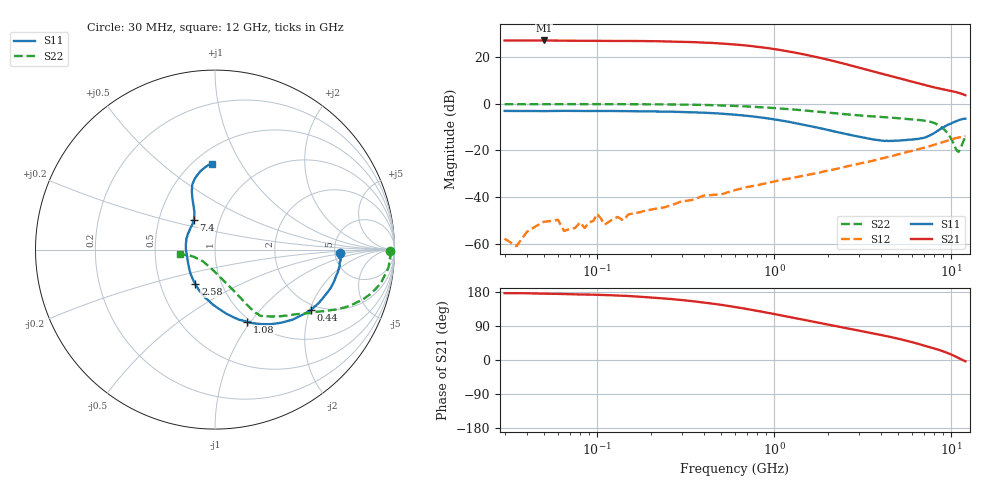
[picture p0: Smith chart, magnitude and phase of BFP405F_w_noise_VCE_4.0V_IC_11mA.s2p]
! Infineon Technologies  Discrete & RF Semiconductors
! BFP405F
! VCE =  4.0 V,  IC =  11 mA
! Common Emitter S-Parameters:  Nov 2015
# GHz  S  MA  R  50
!  f  S11  S21  S12  S22
! GHz  MAG  ANG  MAG  ANG  MAG  ANG  MAG  ANG
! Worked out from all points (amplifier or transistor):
!   239 points, 30 MHz to 12 GHz, reference 50 ohm
!   highest |S21| = 27.0 dB at 50 MHz (marker M1)
!   |S21| within 3 dB of that: start of sweep to 864.2 MHz
!   unconditionally stable (mu >= 1): 32.19 MHz to 36.78 MHz; 2.29 GHz to end of sweep
!   at 300 MHz: K = 0.33, MSG = 34.1 dB, |S12| = -41.7 dB
!   at 1.88 GHz: K = 0.89, MSG = 24.2 dB, |S12| = -29.1 dB
!   at 12 GHz: K = 1.38, MAG = 5.1 dB, |S12| = -13.9 dB
!   lowest NFmin = 1.74 dB at 450 MHz
!   S11 on the Smith chart (normalised r, x): 30 MHz: 5.62, -0.46; 440 MHz: 1.83, -2.04; 1.08 GHz: 0.97, -0.96; 2.58 GHz: 0.75, -0.31; 7.4 GHz: 0.75, +0.25; 12 GHz: 0.61, +0.76
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0.03  0.6994 -1.7  22.35 176.4  0.0013 -55.9  0.9739 -0.6
0.035  0.699 -2.1  22.33 176.3  0.0009 11.4  0.9754 -0.7
0.05  0.6942 -3.8  22.45 175.0  0.003 37.8  0.9789 -1.3
0.085  0.6977 -6.1  22.09 172.8  0.0022 45.6  0.9784 -2.2
0.1  0.7011 -7.3  21.98 172.1  0.0044 69.6  0.975 -2.8
0.11  0.6986 -8.3  21.97 171.3  0.0026 69.4  0.9787 -3.1
0.145  0.694 -11.0  21.94 169.3  0.0037 81.9  0.9769 -4.2
0.24  0.6795 -18.1  21.42 162.3  0.0061 82.3  0.9656 -7.2
0.32  0.6602 -23.8  20.89 156.9  0.0084 74.5  0.9521 -9.5
0.44  0.6313 -32.1  19.92 149.2  0.0111 77.0  0.9312 -12.6
0.6  0.5823 -42.1  18.41 139.8  0.0142 70.1  0.8954 -16.4
0.82  0.5136 -53.9  16.28 128.8  0.0184 70.8  0.8445 -20.3
1.08  0.4405 -65.9  14.02 118.3  0.0233 69.3  0.7888 -24.1
1.3  0.387 -75.3  12.4 110.7  0.0263 68.5  0.7476 -26.6
1.64  0.3242 -87.8  10.37 101.7  0.0314 67.8  0.6937 -29.7
2.12  0.2622 -104.9  8.3 91.3  0.0386 67.4  0.6331 -34.0
2.58  0.2221 -119.4  6.874 83.6  0.0457 65.8  0.5903 -37.5
3.3  0.1837 -140.2  5.381 73.8  0.0559 64.5  0.5466 -42.0
4.5  0.1603 -172.2  3.929 61.1  0.0742 60.9  0.5053 -47.5
7.4  0.202 126.3  2.397 35.2  0.1211 50.4  0.4193 -57.2
11  0.4434 100.7  1.708 4.8  0.1901 30.3  0.0934 -134.4
12  0.4796 92.1  1.518 -3.4  0.2013 24.8  0.1986 -172.8
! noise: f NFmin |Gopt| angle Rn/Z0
0.45  1.74  0.18  5  0.33
0.9  1.75  0.17  8  0.34
1.5  1.81  0.15  13  0.24
1.9  1.84  0.13  20  0.28
2.4  1.98  0.12  27  0.33
3  2.05  0.1  39  0.35
3.5  2.11  0.07  44  0.43
4.5  2.28  0.06  40  0.2
5.5  2.5  0.03  17  0.06
